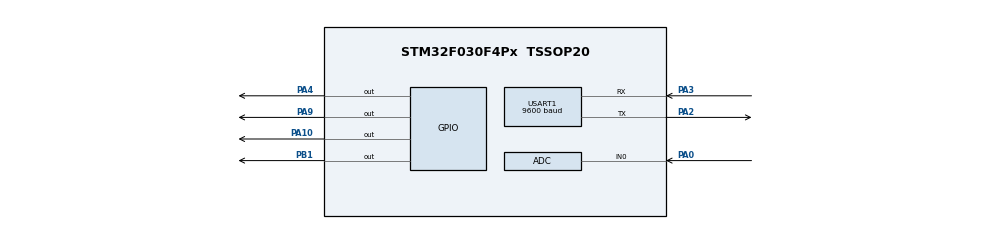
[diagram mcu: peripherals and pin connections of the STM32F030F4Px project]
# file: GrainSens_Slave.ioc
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ADC.SamplingTime=ADC_SAMPLETIME_28CYCLES_5
CRC.DefaultInitValueUse=DEFAULT_INIT_VALUE_ENABLE
CRC.InputDataFormat=CRC_INPUTDATA_FORMAT_WORDS
CRC.InputDataInversionMode=CRC_INPUTDATA_INVERSION_NONE
CRC.OutputDataInversionMode=CRC_OUTPUTDATA_INVERSION_DISABLE
Mcu.Family=STM32F0
Mcu.Name=STM32F030F4Px
Mcu.Package=TSSOP20
NVIC.ADC1_IRQn=true\:0\:0\:false\:false\:true\:true\:true\:true
NVIC.USART1_IRQn=true\:0\:0\:false\:false\:true\:true\:true\:true
PA0.Mode=IN0
PA0.Signal=ADC_IN0
PA10.Signal=GPIO_Output
PA13.Mode=Serial_Wire
PA13.Signal=SYS_SWDIO
PA14.Mode=Serial_Wire
PA14.Signal=SYS_SWCLK
PA2.Mode=Multiprocessor_communication
PA2.Signal=USART1_TX
PA3.Mode=Multiprocessor_communication
PA3.Signal=USART1_RX
PA4.Signal=GPIO_Output
PA9.Signal=GPIO_Output
PB1.Signal=GPIO_Output
PF0-OSC_IN.Mode=HSE-External-Oscillator
PF0-OSC_IN.Signal=RCC_OSC_IN
PF1-OSC_OUT.Mode=HSE-External-Oscillator
PF1-OSC_OUT.Signal=RCC_OSC_OUT
ProjectManager.HeapSize=0x200
ProjectManager.StackSize=0x400
ProjectManager.TargetToolchain=STM32CubeIDE
USART1.BaudRate=9600
USART1.VirtualMode-Multiprocessor_communication=VM_ASYNC
USART1.WakeUpMethod=UART_WAKEUPMETHOD_ADDRESSMARK
USART1.WordLength=WORDLENGTH_9B
VP_CRC_VS_CRC.Mode=CRC_Activate
board=custom

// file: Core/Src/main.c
/* USER CODE BEGIN Header */
/* USER CODE END Header */
#include "main.h"
#include "adc.h"
#include "crc.h"
#include "gpio.h"
#include "usart.h"

/* USER CODE BEGIN Includes */
#include "commands.h"
#include <stdio.h>
#include <string.h>
/* USER CODE END Includes */

/* USER CODE BEGIN PD */
#define packetSize (8)
/* USER CODE END PD */

/* USER CODE BEGIN PV */
uint16_t UART_RX_buffer[packetSize];
uint16_t UART_TX_buffer[packetSize];
uint8_t UART_is_received = 0;
uint8_t UART_is_transmitted = 1;

/* USER CODE END PV */

void SystemClock_Config(void);
/* USER CODE BEGIN PFP */
void changeUARTAddress(uint8_t address);
void getCrc(uint8_t Crc_8[4]);
void addCRC();
uint8_t checkCRC(uint8_t Crc_8[4]);
/* USER CODE END PFP */

/* USER CODE BEGIN 0 */
void HAL_UART_RxCpltCallback(UART_HandleTypeDef *huart) {
  if (huart == &huart1) {
    UART_is_received = 1;
    uint8_t Crc_8[4];
    getCrc(Crc_8);
    HAL_GPIO_TogglePin(GPIOA, GPIO_PIN_9);
    // Check CRC
    if (checkCRC(Crc_8)) {
      // Correct CRC

      HAL_GPIO_TogglePin(GPIOA, GPIO_PIN_10);
      if (UART_RX_buffer[1] == 'X') {
        UART_RX_buffer[1] = 0;
        HAL_GPIO_TogglePin(GPIOA, GPIO_PIN_9);
        changeUARTAddress(UART_RX_buffer[2]);
      } else {
        // other commands
      }
    } else {
      // Incorrect CRC

      HAL_GPIO_TogglePin(GPIOB, GPIO_PIN_1);
      UART_TX_buffer[0] = ERROR_COMMAND;
      addCRC();
      //      UART_is_transmitted = 0;
      HAL_UART_Transmit_IT(&huart1, (uint8_t *)UART_TX_buffer, packetSize);
    }

    UART_Start_Receive_IT(&huart1, (uint8_t *)UART_RX_buffer, packetSize);
  }
}

void HAL_UART_TxCpltCallback(UART_HandleTypeDef *huart) {
  UART_is_transmitted = 1;
}
/* USER CODE END 0 */

int main(void) {

  /* MCU Configuration--------------------------------------------------------*/

  /* Reset of all peripherals, Initializes the Flash interface and the Systick.
   */
  HAL_Init();

  /* Configure the system clock */
  SystemClock_Config();

  /* Initialize all configured peripherals */
  MX_GPIO_Init();
  MX_ADC_Init();
  MX_USART1_UART_Init();
  MX_CRC_Init();
  /* USER CODE BEGIN 2 */
  HAL_MultiProcessor_EnableMuteMode(&huart1);
  HAL_MultiProcessor_EnterMuteMode(&huart1);

  HAL_UART_Receive_IT(&huart1, (uint8_t *)UART_RX_buffer, packetSize);

  /* USER CODE END 2 */

  /* Infinite loop */
  while (1) {

  }
}

void SystemClock_Config(void) {
  RCC_OscInitTypeDef RCC_OscInitStruct = {0};
  RCC_ClkInitTypeDef RCC_ClkInitStruct = {0};
  RCC_PeriphCLKInitTypeDef PeriphClkInit = {0};

  /** Initializes the RCC Oscillators according to the specified parameters
   * in the RCC_OscInitTypeDef structure.
   */
  RCC_OscInitStruct.OscillatorType =
      RCC_OSCILLATORTYPE_HSI | RCC_OSCILLATORTYPE_HSI14;
  RCC_OscInitStruct.HSIState = RCC_HSI_ON;
  RCC_OscInitStruct.HSI14State = RCC_HSI14_ON;
  RCC_OscInitStruct.HSICalibrationValue = RCC_HSICALIBRATION_DEFAULT;
  RCC_OscInitStruct.HSI14CalibrationValue = 16;
  RCC_OscInitStruct.PLL.PLLState = RCC_PLL_NONE;
  if (HAL_RCC_OscConfig(&RCC_OscInitStruct) != HAL_OK) {
    Error_Handler();
  }

  /** Initializes the CPU, AHB and APB buses clocks
   */
  RCC_ClkInitStruct.ClockType =
      RCC_CLOCKTYPE_HCLK | RCC_CLOCKTYPE_SYSCLK | RCC_CLOCKTYPE_PCLK1;
  RCC_ClkInitStruct.SYSCLKSource = RCC_SYSCLKSOURCE_HSI;
  RCC_ClkInitStruct.AHBCLKDivider = RCC_SYSCLK_DIV1;
  RCC_ClkInitStruct.APB1CLKDivider = RCC_HCLK_DIV1;

  if (HAL_RCC_ClockConfig(&RCC_ClkInitStruct, FLASH_LATENCY_0) != HAL_OK) {
    Error_Handler();
  }
  PeriphClkInit.PeriphClockSelection = RCC_PERIPHCLK_USART1;
  PeriphClkInit.Usart1ClockSelection = RCC_USART1CLKSOURCE_PCLK1;
  if (HAL_RCCEx_PeriphCLKConfig(&PeriphClkInit) != HAL_OK) {
    Error_Handler();
  }
}

/* USER CODE BEGIN 4 */
void changeUARTAddress(uint8_t address) {
  if (HAL_MultiProcessor_Init(&huart1, address,
                              UART_WAKEUPMETHOD_ADDRESSMARK) != HAL_OK) {
    Error_Handler();
  }
}

void getCrc(uint8_t Crc_8[4]) {
  uint32_t Crc = HAL_CRC_Calculate(&hcrc, (uint32_t *)UART_RX_buffer,
                                   (packetSize / 2 - 2));
  Crc_8[0] = (Crc & 0xFF000000) >> 24;
  Crc_8[1] = (Crc & 0x00FF0000) >> 16;
  Crc_8[2] = (Crc & 0x0000FF00) >> 8;
  Crc_8[3] = (Crc & 0x000000FF);
}

void addCRC() {
  uint8_t Crc[4];
  getCrc(Crc);
  UART_TX_buffer[packetSize - 4] = Crc[0];
  UART_TX_buffer[packetSize - 3] = Crc[1];
  UART_TX_buffer[packetSize - 2] = Crc[2];
  UART_TX_buffer[packetSize - 1] = Crc[3];
}

uint8_t checkCRC(uint8_t Crc_8[4]) {
  return (Crc_8[0] == UART_RX_buffer[4] && Crc_8[1] == UART_RX_buffer[5] &&
          Crc_8[2] == UART_RX_buffer[6] && Crc_8[3] == UART_RX_buffer[7]);
}

/* USER CODE END 4 */

void Error_Handler(void) {
}
